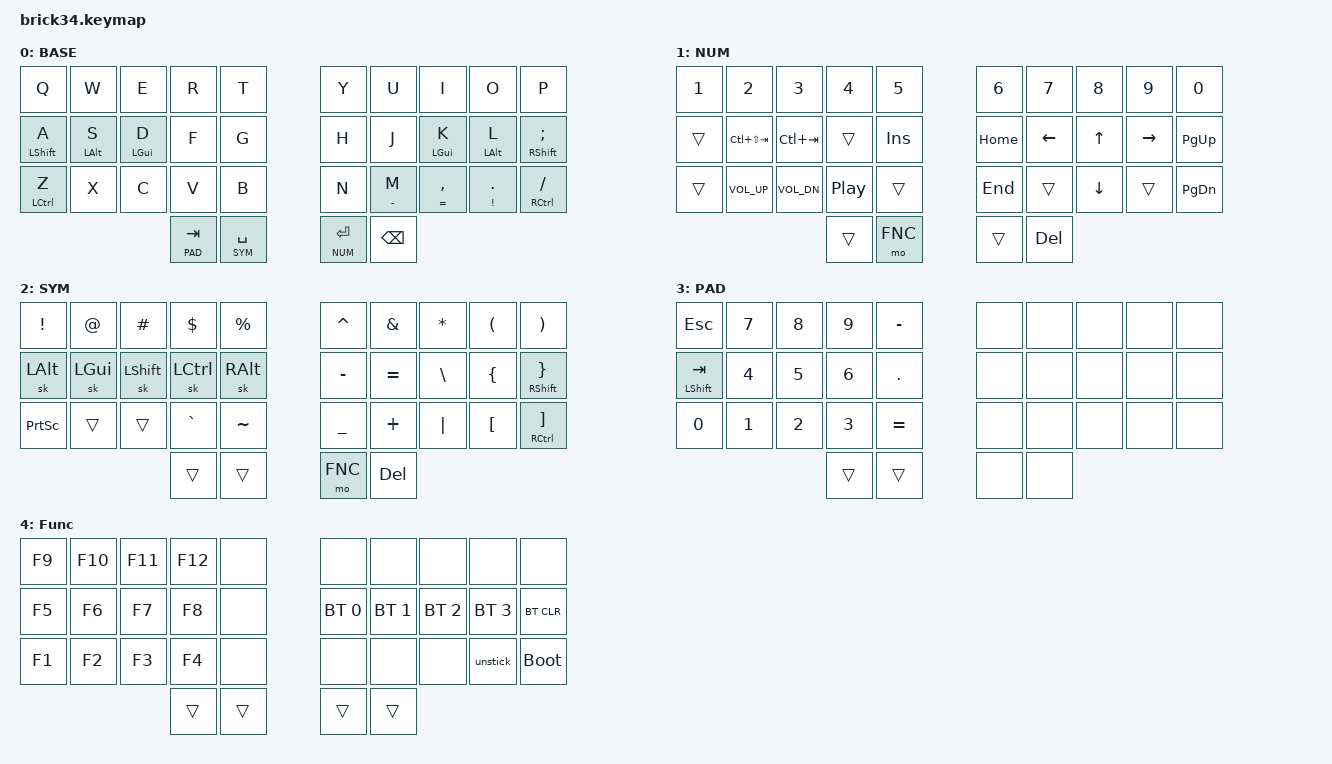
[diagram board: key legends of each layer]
#include <behaviors.dtsi>
#include <dt-bindings/zmk/keys.h>
#include <dt-bindings/zmk/bt.h>
#include <dt-bindings/zmk/outputs.h>
// #include <dt-bindings/zmk/mouse.h>
#ifdef EXTERNAL_POWER
#    include <dt-bindings/zmk/ext_power.h>
#endif

// Layer definitions
    #define BASE 0
    #define NUM 1
    #define SYM 2
	#define PAD 3
    #define FNC 4
// -----------------

// Desktop and tab navigation shortcuts
#define D_LT   LC(LG(LEFT))
#define D_RT   LC(LG(RIGHT))
#define TAB_RT LC(TAB)
#define TAB_LT LC(LS(TAB))


// Key position groups
#define KEYS_L 0 1 2 3 4 10 11 12 13 14 20 21 22 23 24
#define KEYS_R 5 6 7 8 9 15 16 17 18 19 25 26 27 28 29
#define THUMBS 30 31 32 33
// -----------------

#define QUICK_TAP_MS 175

#include "combos.dtsi"
// #include "mouse.dtsi"

&mt {
  quick-tap-ms = <80>;
//   global-quick-tap;
  flavor = "balanced";
  tapping-term-ms = <150>;
};

&sk {
		// don't release mods on other mods presses
    ignore-modifiers;
};

&lt {  // layer-tap config
    flavor = "balanced";
    tapping-term-ms = <200>;
    quick-tap-ms = <QUICK_TAP_MS>;
};

/ {
	behaviors {
        aml: alpha_mods_l {
            compatible = "zmk,behavior-hold-tap";
            label = "ALPHA_MT_L";
            #binding-cells = <2>;
            tapping-term-ms = <280>;
            quick-tap-ms = <175>;
            flavor = "balanced";
            bindings = <&kp>, <&kp>;
            hold-trigger-key-positions = <KEYS_R THUMBS>;
            // hold-trigger-on-release;
        };
        asl: alpha_shift_l {
            compatible = "zmk,behavior-hold-tap";
            label = "ALPHA_SFT_L";
            #binding-cells = <2>;
            tapping-term-ms = <280>;
            quick-tap-ms = <175>;
            flavor = "balanced";
            bindings = <&kp>, <&kp>;
            hold-trigger-key-positions = <KEYS_R THUMBS>;
            // hold-trigger-on-release;
        };
        amr: alpha_mods_r {
            compatible = "zmk,behavior-hold-tap";
            label = "ALPHA_MT_R";
            #binding-cells = <2>;
            tapping-term-ms = <280>;
            quick-tap-ms = <175>;
            flavor = "balanced";
            bindings = <&kp>, <&kp>;
            hold-trigger-key-positions = <KEYS_L THUMBS>;
            // hold-trigger-on-release;
        };
        asr: alpha_shift_r {
            compatible = "zmk,behavior-hold-tap";
            label = "ALPHA_SFT_R";
            #binding-cells = <2>;
            tapping-term-ms = <280>;
            quick-tap-ms = <175>;
            flavor = "balanced";
            bindings = <&kp>, <&kp>;
            hold-trigger-key-positions = <KEYS_L THUMBS>;
            // hold-trigger-on-release;
        };
        bhm: balanced_homerow_mods {
            compatible = "zmk,behavior-hold-tap";
            label = "HomerowHoldtap";
            #binding-cells = <2>;
            tapping-term-ms = <200>;    // <---[[moderate duration]]
            quick-tap-ms = <0>;
            flavor = "balanced";
            bindings = <&kp>, <&kp>;
        };
    };
		
	macros {
		// sometimes my device thinks a modifier is being held down
		// pressing all modifiers fixes it.
		unstick: unstick {
			label = "ZM_unstick";
			compatible = "zmk,behavior-macro";
			#binding-cells = <0>;
			bindings = <&kp LSHIFT &kp RSHIFT &kp LCTRL &kp RCTRL &kp LALT &kp RALT &kp LGUI &kp RGUI>;
		};
	};
	keymap {
		compatible = "zmk,keymap";

		default_layer {
			label = "BASE";
            bindings = <
// ╭────────────────┬────────────────┬────────────────┬────────────────┬────────────────╮   ╭────────────────┬────────────────┬────────────────┬────────────────┬────────────────╮
   	&kp Q            &kp W            &kp E            &kp R            &kp T                &kp Y       	  &kp U            &kp I       		&kp O       	 &kp P
// ├────────────────┼────────────────┼────────────────┼────────────────┼────────────────┤   ├────────────────┼────────────────┼────────────────┼────────────────┼────────────────┤
   	&mt LSHFT A      &mt LALT S       &mt LGUI D       &kp F            &kp G                &kp H       	  &kp J            &mt LGUI K  	    &mt LALT L  	 &mt RSHFT SEMI
// ├────────────────┼────────────────┼────────────────┼────────────────┼────────────────┤   ├────────────────┼────────────────┼────────────────┼────────────────┼────────────────┤
   	&mt LCTRL Z      &kp X            &kp C            &kp V            &kp B                &kp N       	  &mt MINUS M      &mt EQUAL COMMA  &mt EXCL DOT	 &mt RCTRL FSLH
// ╰────────────────┴────────────────┴────────────────┼────────────────┼────────────────┤   ├────────────────┼────────────────┼────────────────┴────────────────┴────────────────╯
                                              		   &lt PAD TAB      &lt SYM SPACE        &lt NUM RET 	  &kp BSPC
//                                                    ╰────────────d────┴────────────────╯   ╰────────────────┴────────────────╯
            >;
		};
        lower_layer {
			label = "NUM";
            bindings = <
// ╭────────────────┬────────────────┬────────────────┬────────────────┬────────────────╮   ╭────────────────┬────────────────┬────────────────┬────────────────┬────────────────╮
    &kp N1		     &kp N2		      &kp N3		   &kp N4		    &kp N5		    	 &kp N6	    	  &kp N7		   &kp N8			&kp N9			 &kp N0
// ├────────────────┼────────────────┼────────────────┼────────────────┼────────────────┤   ├────────────────┼────────────────┼────────────────┼────────────────┼────────────────┤
    &trans 		 	 &kp TAB_LT	  	  &kp TAB_RT       &trans   	    &kp INS       		 &kp HOME		  &kp LEFT		   &kp UP  		    &kp RIGHT		 &kp PG_UP
// ├────────────────┼────────────────┼────────────────┼────────────────┼────────────────┤   ├────────────────┼────────────────┼────────────────┼────────────────┼────────────────┤
    &trans 		 	 &kp C_VOL_UP	  &kp C_VOL_DN	   &kp C_PP 	    &trans        		 &kp END	      &trans	       &kp DOWN		    &trans	    	 &kp PG_DN
// ╰────────────────┴────────────────┴────────────────┼────────────────┼────────────────┤   ├────────────────┼────────────────┼────────────────┴────────────────┴────────────────╯
               	                                       &trans           &mo FNC         	 &trans      	  &kp DEL
//                                                    ╰────────────────┴────────────────╯   ╰────────────────┴────────────────╯
            >;
		};
		raise_layer {
			label = "SYM";
			bindings = <
// ╭────────────────┬────────────────┬────────────────┬────────────────┬────────────────╮   ╭────────────────┬────────────────┬────────────────┬────────────────┬────────────────╮
    &kp EXCL  	     &kp AT 		  &kp HASH  	   &kp DLLR  	    &kp PRCNT       	 &kp CARET		  &kp AMPS		   &kp ASTRK		&kp LPAR		 &kp RPAR
// ├────────────────┼────────────────┼────────────────┼────────────────┼────────────────┤   ├────────────────┼────────────────┼────────────────┼────────────────┼────────────────┤
    &sk LALT	     &sk LGUI	      &sk LSHIFT	   &sk LCTRL	    &sk RALT 	    	 &kp MINUS 		  &kp EQUAL		   &kp BSLH		    &kp LBRC   		 &mt RSHFT RBRC
// ├────────────────┼────────────────┼────────────────┼────────────────┼────────────────┤   ├────────────────┼────────────────┼────────────────┼────────────────┼────────────────┤
    &kp PRINTSCREEN  &trans 		  &trans  		   &kp GRAVE    	&kp TILDE 			 &kp UNDER		  &kp PLUS		   &kp PIPE		    &kp LBKT 		 &mt RCTRL RBKT
// ╰────────────────┴────────────────┴────────────────┼────────────────┼────────────────┤   ├────────────────┼────────────────┼────────────────┴────────────────┴────────────────╯
        	                                           &trans           &trans          	 &mo FNC     	  &kp DEL
//                                                    ╰────────────────┴────────────────╯   ╰────────────────┴────────────────╯
            >;
		};
		pad_layer {
			label = "PAD";
			bindings = <
// ╭────────────────┬────────────────┬────────────────┬────────────────┬────────────────╮   ╭────────────────┬────────────────┬────────────────┬────────────────┬────────────────╮
    &kp ESC	         &kp N7	          &kp N8		   &kp N9	        &kp MINUS       	 &none            &none            &none 	        &none 	         &none
// ├────────────────┼────────────────┼────────────────┼────────────────┼────────────────┤   ├────────────────┼────────────────┼────────────────┼────────────────┼────────────────┤
    &mt LSHIFT TAB	 &kp N4	          &kp N5		   &kp N6	        &kp DOT 	    	 &none       	  &none            &none 	        &none            &none
// ├────────────────┼────────────────┼────────────────┼────────────────┼────────────────┤   ├────────────────┼────────────────┼────────────────┼────────────────┼────────────────┤
    &kp N0     		 &kp N1    	 	  &kp N2 		   &kp N3   		&kp EQUAL  	   		 &none         	  &none            &none            &none            &none
// ╰────────────────┴────────────────┴────────────────┼────────────────┼────────────────┤   ├────────────────┼────────────────┼────────────────┴────────────────┴────────────────╯
        	                                           &trans           &trans          	 &none      	  &none 
//                                                 	  ╰────────────────┴────────────────╯   ╰────────────────┴────────────────╯
            >;
		};
        fuc_layer {
			label = "Func";
            bindings = <
// ╭────────────────┬────────────────┬────────────────┬────────────────┬────────────────╮   ╭────────────────┬────────────────┬────────────────┬────────────────┬────────────────╮
    &kp F9	         &kp F10	      &kp F11		   &kp F12	        &none          		 &none			  &none			   &none			&none     		 &none
// ├────────────────┼────────────────┼────────────────┼────────────────┼────────────────┤   ├────────────────┼────────────────┼────────────────┼────────────────┼────────────────┤
    &kp F5	         &kp F6	          &kp F7		   &kp F8	        &none 	        	 &bt BT_SEL 0     &bt BT_SEL 1     &bt BT_SEL 2 	&bt BT_SEL 3   	 &bt BT_CLR
// ├────────────────┼────────────────┼────────────────┼────────────────┼────────────────┤   ├────────────────┼────────────────┼────────────────┼────────────────┼────────────────┤
    &kp F1     		 &kp F2    		  &kp F3 		   &kp F4   		&none 	    		 &none	    	  &none	   		   &none  	    	&unstick 		 &bootloader
// ╰────────────────┴────────────────┴────────────────┼────────────────┼────────────────┤   ├────────────────┼────────────────┼────────────────┴────────────────┴────────────────╯
        	                                           &trans           &trans          	 &trans      	  &trans
//                                                 	  ╰────────────────┴────────────────╯   ╰────────────────┴────────────────╯
            >;
		};
    };
};
